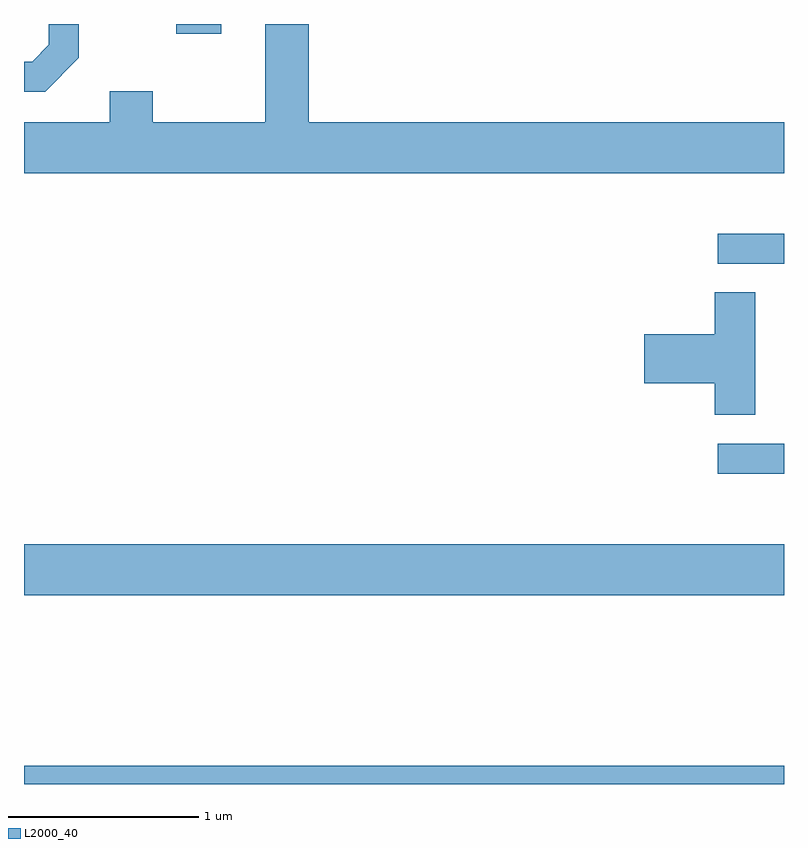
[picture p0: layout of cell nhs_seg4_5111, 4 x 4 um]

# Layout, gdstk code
import gdstk
lib = gdstk.Library(unit=1e-6, precision=1e-09)
def R(c, l, rs):  # rectangles x0, y0, x1, y1
    for r in rs: c.add(gdstk.rectangle(r[:2], r[2:], *l))
def P(c, l, *ps):  # polygons
    for p in ps: c.add(gdstk.Polygon(p, *l))
L2000_40 = (2000, 40)

nhs_seg4_5111 = lib.new_cell('nhs_seg4_5111')
R(nhs_seg4_5111, L2000_40, [(335.611,1275.982,339.611,1276.079), (335.611,1276.976,339.611,1277.244), (339.263,1277.616,339.611,1277.774), (339.263,1278.721,339.611,1278.879), (336.413,1279.931,336.649,1279.982)])
P(nhs_seg4_5111, L2000_40, [(339.611,1279.464),(337.109,1279.464),(337.109,1279.982),(336.881,1279.982),(336.881,1279.464),(336.289,1279.464),(336.289,1279.629),(336.061,1279.629),(336.061,1279.464),(335.611,1279.464),(335.611,1279.196),(339.611,1279.196)],
  [(335.899,1279.804),(335.899,1279.982),(335.741,1279.982),(335.741,1279.872),(335.654,1279.784),(335.611,1279.784),(335.611,1279.626),(335.722,1279.626)],
  [(339.459,1278.569),(339.246,1278.569),(339.246,1278.349),(338.876,1278.349),(338.876,1278.091),(339.246,1278.091),(339.246,1277.926),(339.459,1277.926)])

lib.write_gds('nhs_seg4_5111.gds')
